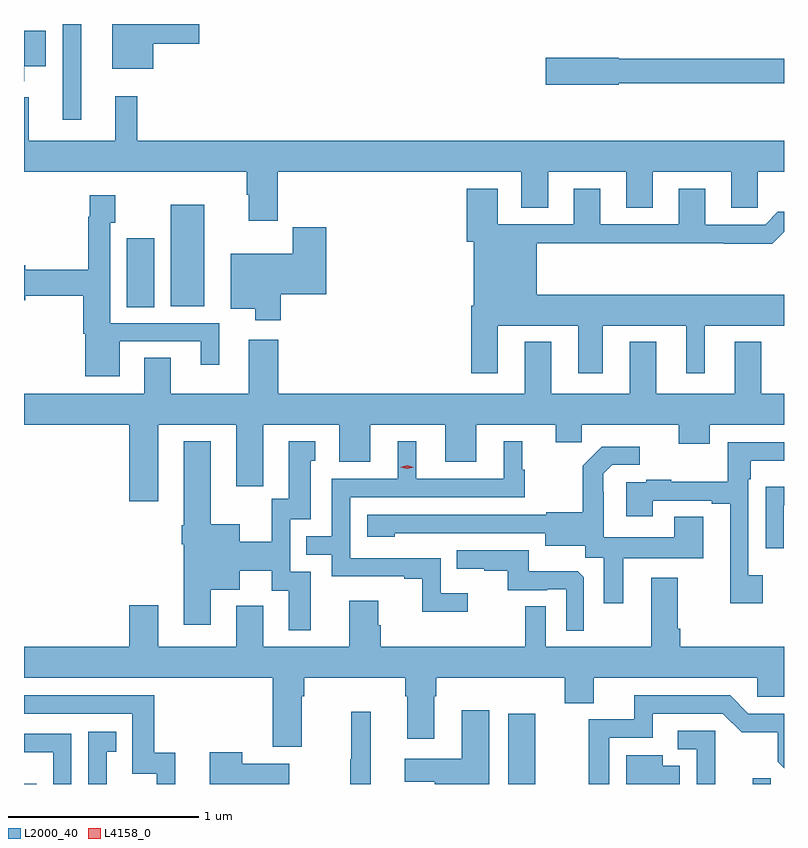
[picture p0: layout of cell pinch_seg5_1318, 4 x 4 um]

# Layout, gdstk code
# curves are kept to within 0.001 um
import gdstk
lib = gdstk.Library(unit=1e-6, precision=1e-09)
def R(c, l, rs):  # rectangles x0, y0, x1, y1
    for r in rs: c.add(gdstk.rectangle(r[:2], r[2:], *l))
def P(c, l, *ps):  # polygons
    for p in ps: c.add(gdstk.Polygon(p, *l))
L2000_40 = (2000, 40)
L4158_0 = (4158, 0)

pinch_seg5_1318 = lib.new_cell('pinch_seg5_1318')
R(pinch_seg5_1318, L2000_40, [(276.699,888.17,276.767,888.171), (279.248,888.17,279.39,888.541), (280.534,888.17,280.628,888.201), (277.241,890.68,277.384,891.043), (277.472,890.684,277.648,891.22), (276.903,891.666,277,892.17)])
P(pinch_seg5_1318, L2000_40, [(277.378,892.067),(277.621,892.067),(277.621,892.17),(277.163,892.17),(277.163,891.935),(277.378,891.935)],
  [(276.7,891.947),(276.814,891.947),(276.814,892.135),(276.699,892.135),(276.699,891.869),(276.7,891.869)],
  [(279.828,891.858),(280.699,891.858),(280.699,891.986),(279.828,891.986),(279.828,891.992),(279.444,891.992),(279.444,891.85),(279.828,891.85)],
  [(278.035,891.392),(279.317,891.392),(279.317,891.202),(279.457,891.202),(279.457,891.392),(279.869,891.392),(279.869,891.202),(280.009,891.202),(280.009,891.392),(280.421,891.392),(280.421,891.202),(280.56,891.202),(280.56,891.392),(280.699,891.392),(280.699,891.556),(277.295,891.556),(277.295,891.79),(277.178,891.79),(277.178,891.556),(276.725,891.556),(276.725,891.784),(276.699,891.784),(276.699,891.392),(277.871,891.392),(277.871,891.272),(277.883,891.272),(277.883,891.135),(278.035,891.135)],
  [(279.193,890.582),(279.617,890.582),(279.617,890.331),(279.745,890.331),(279.745,890.582),(280.184,890.582),(280.184,890.331),(280.282,890.331),(280.282,890.582),(280.699,890.582),(280.699,890.746),(279.397,890.746),(279.397,891.016),(280.381,891.016),(280.381,891.014),(280.637,891.014),(280.699,891.076),(280.699,891.181),(280.666,891.181),(280.599,891.114),(280.285,891.114),(280.285,891.304),(280.145,891.304),(280.145,891.117),(279.733,891.117),(279.733,891.304),(279.593,891.304),(279.593,891.117),(279.193,891.117),(279.193,891.304),(279.029,891.304),(279.029,891.024),(279.065,891.024),(279.065,890.686),(279.053,890.686),(279.053,890.331),(279.193,890.331)],
  [(277.204,890.499),(277.628,890.499),(277.628,890.376),(277.726,890.376),(277.726,890.595),(277.152,890.595),(277.152,891.123),(277.179,891.123),(277.179,891.268),(277.044,891.268),(277.044,891.155),(277.036,891.155),(277.036,890.876),(276.706,890.876),(276.706,890.9),(276.699,890.9),(276.699,890.717),(276.706,890.717),(276.706,890.74),(277.01,890.74),(277.01,890.541),(277.022,890.541),(277.022,890.315),(277.204,890.315)],
  [(278.051,890.747),(278.291,890.747),(278.291,891.1),(278.113,891.1),(278.113,890.962),(277.787,890.962),(277.787,890.672),(277.916,890.672),(277.916,890.61),(278.051,890.61)],
  [(277.405,890.06),(277.817,890.06),(277.817,889.737),(277.957,889.737),(277.957,890.06),(278.357,890.06),(278.357,889.866),(278.521,889.866),(278.521,890.06),(278.915,890.06),(278.915,889.866),(279.079,889.866),(279.079,890.06),(279.497,890.06),(279.497,889.97),(279.635,889.97),(279.635,890.06),(280.145,890.06),(280.145,889.961),(280.309,889.961),(280.309,890.06),(280.699,890.06),(280.699,890.224),(280.579,890.224),(280.579,890.497),(280.439,890.497),(280.439,890.224),(280.027,890.224),(280.027,890.497),(279.887,890.497),(279.887,890.224),(279.475,890.224),(279.475,890.497),(279.335,890.497),(279.335,890.224),(278.036,890.224),(278.036,890.509),(277.883,890.509),(277.883,890.224),(277.471,890.224),(277.471,890.414),(277.331,890.414),(277.331,890.224),(276.699,890.224),(276.699,890.06),(277.253,890.06),(277.253,889.659),(277.405,889.659)],
  [(278.209,889.287),(278.1,889.287),(278.1,889.563),(278.209,889.563),(278.209,889.872),(278.233,889.872),(278.233,889.975),(278.093,889.975),(278.093,889.671),(278.004,889.671),(278.004,889.444),(277.834,889.444),(277.834,889.537),(277.681,889.537),(277.681,889.975),(277.541,889.975),(277.541,889.533),(277.529,889.533),(277.529,889.433),(277.541,889.433),(277.541,889.008),(277.681,889.008),(277.681,889.193),(277.834,889.193),(277.834,889.292),(278.003,889.292),(278.003,889.186),(278.093,889.186),(278.093,888.978),(278.209,888.978)],
  [(279.034,889.174),(278.892,889.174),(278.892,889.359),(278.415,889.359),(278.415,889.68),(279.334,889.68),(279.334,889.824),(279.322,889.824),(279.322,889.975),(279.224,889.975),(279.224,889.776),(278.764,889.776),(278.764,889.975),(278.666,889.975),(278.666,889.776),(278.319,889.776),(278.319,889.473),(278.185,889.473),(278.185,889.377),(278.319,889.377),(278.319,889.263),(278.699,889.263),(278.699,889.251),(278.794,889.251),(278.794,889.076),(279.034,889.076)],
  [(280.588,889.27),(280.512,889.27),(280.512,889.775),(280.525,889.775),(280.525,889.871),(280.699,889.871),(280.699,889.968),(280.404,889.968),(280.404,889.76),(280.105,889.76),(280.105,889.771),(279.973,889.771),(279.973,889.758),(279.869,889.758),(279.869,889.578),(280.009,889.578),(280.009,889.662),(280.319,889.662),(280.319,889.644),(280.415,889.644),(280.415,889.122),(280.588,889.122)],
  [(279.853,889.358),(280.273,889.358),(280.273,889.577),(280.121,889.577),(280.121,889.468),(279.75,889.468),(279.75,889.709),(279.748,889.709),(279.748,889.804),(279.795,889.851),(279.94,889.851),(279.94,889.945),(279.739,889.945),(279.639,889.845),(279.639,889.6),(279.447,889.6),(279.447,889.587),(278.505,889.587),(278.505,889.472),(278.649,889.472),(278.649,889.49),(279.443,889.491),(279.443,889.424),(279.654,889.424),(279.654,889.36),(279.749,889.36),(279.749,889.122),(279.853,889.122)],
  [(280.698,889.638),(280.699,889.638),(280.699,889.735),(280.602,889.735),(280.602,889.41),(280.698,889.41)],
  [(279.645,889.257),(279.613,889.289),(279.355,889.289),(279.355,889.401),(278.977,889.401),(278.977,889.304),(279.121,889.304),(279.121,889.293),(279.245,889.293),(279.245,889.191),(279.452,889.191),(279.452,889.194),(279.552,889.194),(279.552,888.977),(279.645,888.977)],
  [(278.161,888.632),(278.174,888.632),(278.174,888.728),(278.705,888.728),(278.705,888.632),(278.717,888.632),(278.717,888.408),(278.857,888.408),(278.857,888.632),(278.87,888.632),(278.87,888.728),(279.545,888.728),(279.545,888.595),(279.697,888.595),(279.697,888.728),(280.557,888.728),(280.557,888.63),(280.699,888.63),(280.699,888.892),(280.154,888.892),(280.154,888.988),(280.141,888.988),(280.141,889.255),(280.001,889.255),(280.001,888.892),(279.444,888.892),(279.444,889.106),(279.336,889.106),(279.336,888.892),(278.576,888.892),(278.576,889.005),(278.563,889.005),(278.563,889.135),(278.411,889.135),(278.411,888.892),(277.957,888.892),(277.957,889.108),(277.817,889.108),(277.817,888.892),(277.405,888.892),(277.405,889.111),(277.253,889.111),(277.253,888.892),(276.699,888.892),(276.699,888.728),(278.009,888.728),(278.009,888.366),(278.161,888.366)],
  [(277.496,888.334),(277.385,888.334),(277.385,888.636),(276.699,888.636),(276.699,888.54),(277.269,888.54),(277.269,888.225),(277.398,888.225),(277.398,888.17),(277.496,888.17)],
  [(279.78,888.414),(280.009,888.414),(280.009,888.54),(280.377,888.54),(280.476,888.442),(280.665,888.442),(280.665,888.286),(280.699,888.252),(280.699,888.54),(280.512,888.54),(280.416,888.636),(279.911,888.636),(279.911,888.51),(279.672,888.51),(279.672,888.17),(279.78,888.17)],
  [(279.148,888.559),(279.002,888.559),(279.002,888.304),(278.703,888.304),(278.703,888.182),(278.861,888.182),(278.861,888.17),(279.148,888.17)],
  [(278.524,888.337),(278.525,888.337),(278.525,888.55),(278.422,888.55),(278.422,888.3),(278.415,888.3),(278.415,888.17),(278.524,888.17)],
  [(280.337,888.45),(280.14,888.45),(280.14,888.354),(280.239,888.354),(280.239,888.17),(280.337,888.17)],
  [(277.135,888.339),(277.184,888.339),(277.184,888.445),(277.038,888.445),(277.038,888.17),(277.135,888.17)],
  [(276.948,888.435),(276.699,888.435),(276.699,888.338),(276.852,888.338),(276.852,888.17),(276.948,888.17)],
  [(278.095,888.277),(277.847,888.277),(277.847,888.337),(277.676,888.337),(277.676,888.17),(278.095,888.17)],
  [(280.15,888.265),(280.06,888.265),(280.06,888.322),(279.869,888.322),(279.869,888.17),(280.15,888.17)])
P(pinch_seg5_1318, L4158_0, [(278.715,889.828),(278.68,889.838),(278.679,889.838),(278.68,889.838),(278.715,889.848),(278.75,889.838),(278.751,889.838),(278.75,889.838)])

lib.write_gds('pinch_seg5_1318.gds')
